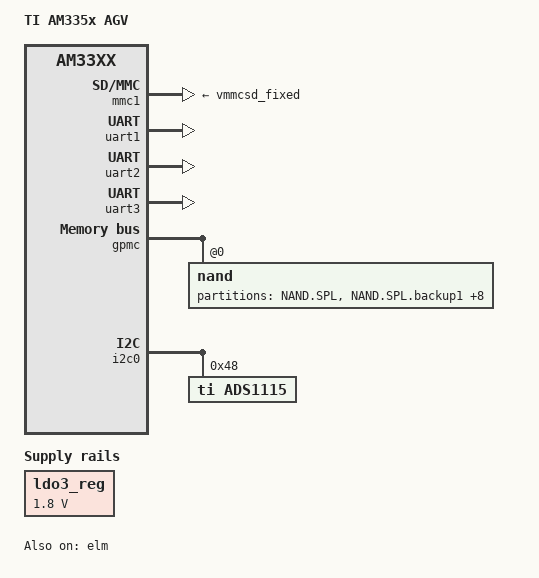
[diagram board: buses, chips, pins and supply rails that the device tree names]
/*
 * Copyright (C) 2012 Texas Instruments Incorporated - http://www.ti.com/
 *
 * This program is free software; you can redistribute it and/or modify
 * it under the terms of the GNU General Public License version 2 as
 * published by the Free Software Foundation.
 */
/dts-v1/;

#include "am33xx.dtsi"
#include "am33xx-es2.dtsi"


#include "am335x-agv-common.dtsi"

/ {
	model = "TI AM335x AGV";
	compatible = "ti,am335x-agv", "ti,am33xx";
	
	gpio_helper {
		compatible = "gpio-of-helper";
		status = "okay";
		pinctrl-names = "default";
		pinctrl-0 = <&gpio_helper_pins>;

		/* declare your gpios */
		io_in0 {
			gpio-name = "io_in0";
			gpio = <&gpio1 8 GPIO_ACTIVE_LOW>;
			input;
		};
		io_in1 {
			gpio-name = "io_in1";
			gpio = <&gpio1 9 GPIO_ACTIVE_LOW>;
			input;
		};
		io_in2 {
			gpio-name = "io_in2";
			gpio = <&gpio0 12 GPIO_ACTIVE_LOW>;
			input;
		};
		io_in3 {
			gpio-name = "io_in3";
			gpio = <&gpio0 13 GPIO_ACTIVE_LOW>;
			input;
		};
		io_out0 {
			gpio-name = "io_out0";
			gpio = <&gpio3 15 GPIO_ACTIVE_LOW>;
			output;
			init-high;
		};
		io_out1 {
			gpio-name = "io_out1";
			gpio = <&gpio3 16 GPIO_ACTIVE_LOW>;
			output;
			init-high;
		};
		io_out2 {
			gpio-name = "io_out2";
			gpio = <&gpio3 17 GPIO_ACTIVE_LOW>;
			output;
			init-high;
		};
		io_out3 {
			gpio-name = "io_out3";
			gpio = <&gpio3 19 GPIO_ACTIVE_LOW>;
			output;
			init-high;
		};
	};
};

&ldo3_reg {
	regulator-min-microvolt = <1800000>;
	regulator-max-microvolt = <1800000>;
	regulator-always-on;
};

&mmc1 {
	vmmc-supply = <&vmmcsd_fixed>;
};

&uart1 {
	pinctrl-names = "default";
	pinctrl-0 = <&uart1_pins>;
	status = "okay";
};

&uart2 {
	pinctrl-names = "default";
	pinctrl-0 = <&uart2_pins>;
	status = "okay";
};

&uart3 {
	pinctrl-names = "default";
	pinctrl-0 = <&uart3_pins>;
	status = "okay";
	rts-gpio = <&gpio3 18 GPIO_ACTIVE_HIGH>;
	rs485-rts-active-high;
	rs485-rts-delay = <0 0>;
	linux,rs485-enabled-at-boot-time;
};

&elm {
	status = "okay";
};

&gpmc {
	status = "okay";
	pinctrl-names = "default";
	pinctrl-0 = <&gpmc_pins>;
	ranges = <0 0 0x08000000 0x1000000>;	/* CS0: 16MB for NAND */
	nand@0,0 {
		reg = <0 0 4>; /* CS0, offset 0, IO size 4 */
		ti,nand-ecc-opt = "bch8";
		ti,elm-id = <&elm>;
		nand-bus-width = <8>;
		gpmc,device-width = <1>;
		gpmc,sync-clk-ps = <0>;
		gpmc,cs-on-ns = <0>;
		gpmc,cs-rd-off-ns = <44>;
		gpmc,cs-wr-off-ns = <44>;
		gpmc,adv-on-ns = <6>;
		gpmc,adv-rd-off-ns = <34>;
		gpmc,adv-wr-off-ns = <44>;
		gpmc,we-on-ns = <0>;
		gpmc,we-off-ns = <40>;
		gpmc,oe-on-ns = <0>;
		gpmc,oe-off-ns = <54>;
		gpmc,access-ns = <64>;
		gpmc,rd-cycle-ns = <82>;
		gpmc,wr-cycle-ns = <82>;
		gpmc,wait-on-read = "true";
		gpmc,wait-on-write = "true";
		gpmc,bus-turnaround-ns = <0>;
		gpmc,cycle2cycle-delay-ns = <0>;
		gpmc,clk-activation-ns = <0>;
		gpmc,wait-monitoring-ns = <0>;
		gpmc,wr-access-ns = <40>;
		gpmc,wr-data-mux-bus-ns = <0>;
		/* gpmc,device-nand = "true"; */
		/* MTD partition table */
		/* All SPL-* partitions are sized to minimal length
		 * which can be independently programmable. For
		 * NAND flash this is equal to size of erase-block */
		#address-cells = <1>;
		#size-cells = <1>;
		partition@0 {
			label = "NAND.SPL";
			reg = <0x00000000 0x000020000>;		/* offset, size */
		};
		partition@1 {
			label = "NAND.SPL.backup1";
			reg = <0x00020000 0x00020000>;
		};
		partition@2 {
			label = "NAND.SPL.backup2";
			reg = <0x00040000 0x00020000>;
		};
		partition@3 {
			label = "NAND.SPL.backup3";
			reg = <0x00060000 0x00020000>;
		};
		partition@4 {
			label = "NAND.u-boot-spl-os";
			reg = <0x00080000 0x00040000>;
		};
		partition@5 {
			label = "NAND.u-boot";
			reg = <0x000C0000 0x00100000>;
		};
		partition@6 {
			label = "NAND.u-boot-env";
			reg = <0x001C0000 0x00020000>;
		};
		partition@7 {
			label = "NAND.u-boot-env.backup1";
			reg = <0x001E0000 0x00020000>;
		};
		partition@8 {
			label = "NAND.kernel";
			reg = <0x00200000 0x00800000>;
		};
		partition@9 {
			label = "NAND.file-system";
			reg = <0x00A00000 0x0F600000>;
		};
	};
};

&am33xx_pinmux {
	uart1_pins: pinmux_uart1_pins {
		pinctrl-single,pins = <
			/* uart1_txd.uart1_txd */
			AM33XX_IOPAD(0x984, PIN_OUTPUT_PULLDOWN | MUX_MODE0)
			/* uart1_rxd.uart1_rxd */
			AM33XX_IOPAD(0x980, PIN_INPUT_PULLUP | MUX_MODE0)
		>;
	};
	uart2_pins: pinmux_uart2_pins {
		pinctrl-single,pins = <
			/* spi0_d0.uart2_txd */
			AM33XX_IOPAD(0x954, PIN_OUTPUT_PULLDOWN | MUX_MODE1)
			/* spi0_clk.uart2_rxd */
			AM33XX_IOPAD(0x950, PIN_INPUT_PULLUP | MUX_MODE1)
		>;
	};
	uart3_pins: pinmux_uart3_pins {
		pinctrl-single,pins = <
			/* lcd_enbkl(eCAP0_in_PWM0_out).uart3_txd */
			AM33XX_IOPAD(0x964, PIN_OUTPUT_PULLDOWN | MUX_MODE1)
			/* spi0_cs1.uart3_rxd */
			AM33XX_IOPAD(0x960, PIN_INPUT_PULLUP | MUX_MODE1)
			/* mcasp0_aclkr GPIO3[18], OUTPUT_PULLDOWN | MODE7 --> UART3_DE */
			AM33XX_IOPAD(0x9A0, PIN_OUTPUT_PULLDOWN | MUX_MODE7)
		>;
	};
	gpmc_pins: pinmux_gpmc_pins {
		pinctrl-single,pins = <
			0x0	(PIN_INPUT_PULLUP | MUX_MODE0)	/* gpmc_ad0.gpmc_ad0 */
			0x4	(PIN_INPUT_PULLUP | MUX_MODE0)	/* gpmc_ad1.gpmc_ad1 */
			0x8	(PIN_INPUT_PULLUP | MUX_MODE0)	/* gpmc_ad2.gpmc_ad2 */
			0xc	(PIN_INPUT_PULLUP | MUX_MODE0)	/* gpmc_ad3.gpmc_ad3 */
			0x10	(PIN_INPUT_PULLUP | MUX_MODE0)	/* gpmc_ad4.gpmc_ad4 */
			0x14	(PIN_INPUT_PULLUP | MUX_MODE0)	/* gpmc_ad5.gpmc_ad5 */
			0x18	(PIN_INPUT_PULLUP | MUX_MODE0)	/* gpmc_ad6.gpmc_ad6 */
			0x1c	(PIN_INPUT_PULLUP | MUX_MODE0)	/* gpmc_ad7.gpmc_ad7 */
			0x70	(PIN_INPUT_PULLUP | MUX_MODE0)	/* gpmc_wait0.gpmc_wait0 */
			/* 0x74	0x37 */	/* gpmc_wpn.gpio0_30 */
			0x7c	(PIN_OUTPUT | MUX_MODE0)	/* gpmc_csn0.gpmc_csn0  */
			0x90	(PIN_OUTPUT | MUX_MODE0)	/* gpmc_advn_ale.gpmc_advn_ale */
			0x94	(PIN_OUTPUT | MUX_MODE0)	/* gpmc_oen_ren.gpmc_oen_ren */
			0x98	(PIN_OUTPUT | MUX_MODE0)	/* gpmc_wen.gpmc_wen */
			0x9c	(PIN_OUTPUT | MUX_MODE0)	/* gpmc_be0n_cle.gpmc_be0n_cle */
		>;
	};
	gpio_helper_pins: pinmux_gpio_helper_pins {
		pinctrl-single,pins = <
			AM33XX_IOPAD(0x968, PIN_INPUT | MUX_MODE7)
			AM33XX_IOPAD(0x96C, PIN_INPUT | MUX_MODE7)
			AM33XX_IOPAD(0x978, PIN_INPUT | MUX_MODE7)
			AM33XX_IOPAD(0x97C, PIN_INPUT | MUX_MODE7)
			AM33XX_IOPAD(0x994, PIN_OUTPUT | MUX_MODE7)
			AM33XX_IOPAD(0x998, PIN_OUTPUT | MUX_MODE7)
			AM33XX_IOPAD(0x99C, PIN_OUTPUT | MUX_MODE7)
			AM33XX_IOPAD(0x9A4, PIN_OUTPUT | MUX_MODE7)
		>;
	};
};

&i2c0 {
	#address-cells = <1>;
	#size-cells = <0>;
	status = "okay";

	ads1115: ads1115@48 {
		compatible = "ti,ads1115";
		status = "okay";
		#address-cells = <1>;
		#size-cells = <0>;
		reg = <0x48>;
		channel@1 {
			reg = <0>;
			ti,gain = <2>;
			ti,datarate = <2>;		// 32 SPS
		};
	};
};
